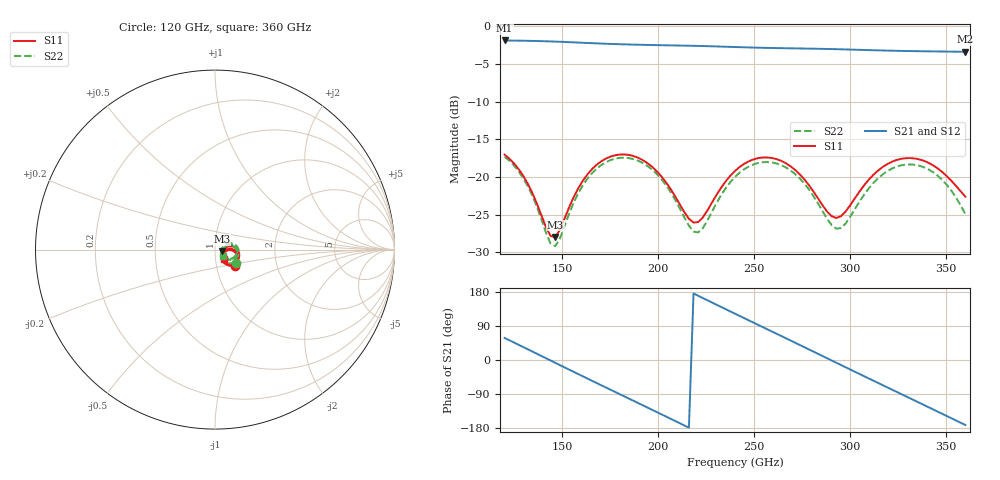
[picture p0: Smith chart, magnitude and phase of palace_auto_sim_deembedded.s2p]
! Created with skrf 1.11.0 (http://scikit-rf.org).
# GHz S DB R 50.0
!freq dBS11 angS11 dBS21 angS21 dBS12 angS12 dBS22 angS22
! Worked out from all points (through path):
!   101 points, 120 GHz to 360 GHz, reference 50 ohm
!   highest |S21| = -1.90 dB at 120 GHz (marker M1); lowest = -3.4 dB at 360 GHz (marker M2)
!   group delay of S21, straight-line fit = 6.82 ps
!   lowest |S11| = -28.0 dB at 146.4 GHz (marker M3), VSWR 1.08, Z = 54 - j1.08 ohm
!   |S11| at or under -10 dB: start of sweep to end of sweep
!   |S22| runs from -29.2 to -17.3 dB; largest |S21 - S12| = 9.3e-14
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120  -17.05 -39.2  -1.90 58.2  -1.90 58.2  -17.32 -32.4
134.4  -22.12 -56.5  -1.96 22.5  -1.96 22.5  -22.47 -50.2
146.4  -27.99 -14.6  -2.05 -7.5  -2.05 -7.5  -29.20 -6.4
160.8  -20.49 11.4  -2.20 -43.2  -2.20 -43.2  -21.10 23.8
170.4  -17.93 -1.4  -2.31 -66.8  -2.31 -66.8  -18.42 11.2
180  -17.04 -17.3  -2.40 -90.3  -2.40 -90.3  -17.48 -4.6
189.6  -17.47 -33.2  -2.46 -113.7  -2.46 -113.7  -17.87 -20.3
201.6  -19.92 -48.5  -2.53 -143.2  -2.53 -143.2  -20.29 -36.2
211.2  -23.63 -48.2  -2.57 -166.8  -2.57 -166.8  -24.17 -37.6
220.8  -26.00 -17.3  -2.62 169.5  -2.62 169.5  -27.38 -5.0
240  -19.22 -1.7  -2.77 122.2  -2.77 122.2  -20.01 16.3
249.6  -17.68 -14.8  -2.84 98.7  -2.84 98.7  -18.35 3.1
259.2  -17.49 -29.7  -2.90 75.2  -2.90 75.2  -18.09 -11.9
268.8  -18.57 -43.4  -2.94 51.8  -2.94 51.8  -19.12 -26.1
280.8  -21.92 -51.6  -2.99 22.3  -2.99 22.3  -22.52 -36.0
290.4  -25.23 -35.2  -3.04 -1.4  -3.04 -1.4  -26.43 -21.0
295.2  -25.22 -18.4  -3.07 -13.2  -3.07 -13.2  -26.79 -1.8
309.6  -20.40 -3.1  -3.18 -48.5  -3.18 -48.5  -21.55 18.2
321.6  -18.01 -15.4  -3.26 -77.8  -3.26 -77.8  -18.92 5.3
338.4  -17.87 -38.3  -3.33 -118.7  -3.33 -118.7  -18.73 -20.2
350.4  -19.93 -50.0  -3.37 -148.1  -3.37 -148.1  -21.09 -35.7
360  -22.63 -47.3  -3.41 -171.6  -3.41 -171.6  -24.96 -37.2
